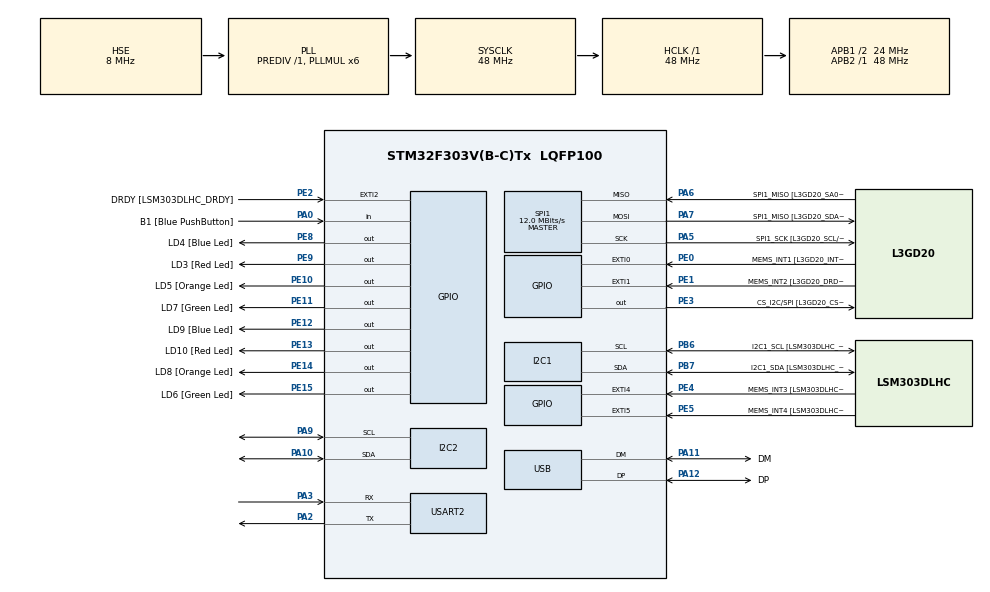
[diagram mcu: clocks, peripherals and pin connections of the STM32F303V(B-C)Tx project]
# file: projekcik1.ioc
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I2C1.Timing=0x00201D2B
I2C1.Timing-I2C=0x2000090E
I2C2.Timing=0x00201D2B
Mcu.Family=STM32F3
Mcu.Name=STM32F303V(B-C)Tx
Mcu.Package=LQFP100
NVIC.PriorityGroup=NVIC_PRIORITYGROUP_0
PA0.GPIO_Label=B1 [Blue PushButton]
PA0.Signal=GPIO_Input
PA10.Mode=I2C
PA10.Signal=I2C2_SDA
PA11.GPIO_Label=DM
PA11.Mode=Device
PA11.Signal=USB_DM
PA12.GPIO_Label=DP
PA12.Mode=Device
PA12.Signal=USB_DP
PA13.GPIO_Label=SWDIO
PA13.Mode=Serial_Wire
PA13.Signal=SYS_JTMS-SWDIO
PA14.GPIO_Label=SWCLK
PA14.Mode=Serial_Wire
PA14.Signal=SYS_JTCK-SWCLK
PA2.Mode=Asynchronous
PA2.Signal=USART2_TX
PA3.Mode=Asynchronous
PA3.Signal=USART2_RX
PA5.GPIO_Label=SPI1_SCK [L3GD20_SCL/SPC]
PA5.Mode=Full_Duplex_Master
PA5.Signal=SPI1_SCK
PA6.GPIO_Label=SPI1_MISO [L3GD20_SA0/SDO]
PA6.Mode=Full_Duplex_Master
PA6.Signal=SPI1_MISO
PA7.GPIO_Label=SPI1_MISO [L3GD20_SDA/SDI/SDO]
PA7.Mode=Full_Duplex_Master
PA7.Signal=SPI1_MOSI
PA9.Mode=I2C
PA9.Signal=I2C2_SCL
PB3.GPIO_Label=SWO
PB3.Signal=SYS_JTDO-TRACESWO
PB6.GPIO_Label=I2C1_SCL [LSM303DLHC_SCL]
PB6.GPIO_Pu=GPIO_PULLUP
PB6.Mode=I2C
PB6.Signal=I2C1_SCL
PB7.GPIO_Label=I2C1_SDA [LSM303DLHC_SDA]
PB7.GPIO_Pu=GPIO_PULLUP
PB7.Mode=I2C
PB7.Signal=I2C1_SDA
PC14-OSC32_IN.GPIO_Label=OSC32_IN
PC14-OSC32_IN.Signal=RCC_OSC32_IN
PC15-OSC32_OUT.GPIO_Label=OSC32_OUT
PC15-OSC32_OUT.Signal=RCC_OSC32_OUT
PE0.GPIO_Label=MEMS_INT1 [L3GD20_INT1]
PE0.GPIO_ModeDefaultEXTI=GPIO_MODE_EVT_RISING
PE0.Signal=GPXTI0
PE1.GPIO_Label=MEMS_INT2 [L3GD20_DRDY/INT2]
PE1.GPIO_ModeDefaultEXTI=GPIO_MODE_EVT_RISING
PE1.Signal=GPXTI1
PE10.GPIO_Label=LD5 [Orange Led]
PE10.Signal=GPIO_Output
PE11.GPIO_Label=LD7 [Green Led]
PE11.Signal=GPIO_Output
PE12.GPIO_Label=LD9 [Blue Led]
PE12.Signal=GPIO_Output
PE13.GPIO_Label=LD10 [Red Led]
PE13.Signal=GPIO_Output
PE14.GPIO_Label=LD8 [Orange Led]
PE14.Signal=GPIO_Output
PE15.GPIO_Label=LD6 [Green Led]
PE15.Signal=GPIO_Output
PE2.GPIO_Label=DRDY [LSM303DLHC_DRDY]
PE2.GPIO_ModeDefaultEXTI=GPIO_MODE_EVT_RISING
PE2.Signal=GPXTI2
PE3.GPIO_Label=CS_I2C/SPI [L3GD20_CS_I2C/SPI]
PE3.Signal=GPIO_Output
PE4.GPIO_Label=MEMS_INT3 [LSM303DLHC_INT1]
PE4.GPIO_ModeDefaultEXTI=GPIO_MODE_EVT_RISING
PE4.Signal=GPXTI4
PE5.GPIO_Label=MEMS_INT4 [LSM303DLHC_INT2]
PE5.GPIO_ModeDefaultEXTI=GPIO_MODE_EVT_RISING
PE5.Signal=GPXTI5
PE8.GPIO_Label=LD4 [Blue Led]
PE8.Signal=GPIO_Output
PE9.GPIO_Label=LD3 [Red Led]
PE9.Signal=GPIO_Output
PF0-OSC_IN.GPIO_Label=OSC_IN
PF0-OSC_IN.Mode=HSE-External-Clock-Source
PF0-OSC_IN.Signal=RCC_OSC_IN
PF1-OSC_OUT.GPIO_Label=OSC_OUT
PF1-OSC_OUT.Signal=RCC_OSC_OUT
ProjectManager.HeapSize=0x200
ProjectManager.StackSize=0x400
ProjectManager.TargetToolchain=STM32CubeIDE
RCC.AHBFreq_Value=48000000
RCC.APB1CLKDivider=RCC_HCLK_DIV2
RCC.APB1Freq_Value=24000000
RCC.APB1TimFreq_Value=48000000
RCC.APB2Freq_Value=48000000
RCC.APB2TimFreq_Value=48000000
RCC.CortexFreq_Value=48000000
RCC.HCLKFreq_Value=48000000
RCC.HSE_VALUE=8000000
RCC.HSI_VALUE=8000000
RCC.LSE_VALUE=32768
RCC.PLLMUL=RCC_PLL_MUL6
RCC.SYSCLKFreq_VALUE=48000000
RCC.SYSCLKSourceVirtual=RCC_SYSCLKSOURCE_PLLCLK
RCC.USBFreq_Value=48000000
SPI1.BaudRatePrescaler=SPI_BAUDRATEPRESCALER_4
SPI1.BaudRatePrescaler-Full_Duplex_Master=SPI_BAUDRATEPRESCALER_2
SPI1.CalculateBaudRate=12.0 MBits/s
SPI1.CalculateBaudRate-Full_Duplex_Master=24.0 MBits/s
SPI1.Direction=SPI_DIRECTION_2LINES
SPI1.Mode=SPI_MODE_MASTER
SPI1.Mode-Full_Duplex_Master=SPI_MODE_MASTER
SPI1.VirtualType=VM_MASTER
USART2.VirtualMode-Asynchronous=VM_ASYNC
board=STM32F3DISCOVERY

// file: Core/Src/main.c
/* USER CODE BEGIN Header */
/**
  ******************************************************************************
  * @file           : main.c
  * @brief          : Main program body
  ******************************************************************************
  * @attention
  *
  * Copyright (c) 2026 STMicroelectronics.
  * All rights reserved.
  *
  * This software is licensed under terms that can be found in the LICENSE file
  * in the root directory of this software component.
  * If no LICENSE file comes with this software, it is provided AS-IS.
  *
  ******************************************************************************
  */
/* USER CODE END Header */
#include "main.h"
#define ACC_ADDR (0x19 << 1)
#define MAG_ADDR (0x1E << 1)
static int state = 0;

I2C_HandleTypeDef hi2c1;
I2C_HandleTypeDef hi2c2;

SPI_HandleTypeDef hspi1;

UART_HandleTypeDef huart2;

PCD_HandleTypeDef hpcd_USB_FS;

void SystemClock_Config(void);
static void MX_GPIO_Init(void);
static void MX_I2C1_Init(void);
static void MX_SPI1_Init(void);
static void MX_USART2_UART_Init(void);
static void MX_USB_PCD_Init(void);
static void MX_I2C2_Init(void);

int mode1(void)
{
	HAL_GPIO_WritePin(GPIOE, GPIO_PIN_10, GPIO_PIN_RESET);
	HAL_GPIO_WritePin(GPIOE, GPIO_PIN_12, GPIO_PIN_SET);
			  uint8_t data[6];

			  	  HAL_I2C_Mem_Read(&hi2c1, ACC_ADDR, 0x28 | 0x80, 1, data, 6, HAL_MAX_DELAY);
			  	  int16_t ax = data[0] | (data[1] << 8);
			  	  int16_t ay = data[2] | (data[3] << 8);
			  	  int16_t az = data[4] | (data[5] << 8);
			  	  int threshold = 12000;

			  	  HAL_GPIO_WritePin(GPIOE, GPIO_PIN_13, GPIO_PIN_RESET);
			  	  HAL_GPIO_WritePin(GPIOE, GPIO_PIN_15, GPIO_PIN_RESET);
			  	  HAL_GPIO_WritePin(GPIOE, GPIO_PIN_11, GPIO_PIN_RESET);
			  	  HAL_GPIO_WritePin(GPIOE, GPIO_PIN_9, GPIO_PIN_RESET);

			  	  // 2. warunki
			  	  if(ax > threshold)
			  	      HAL_GPIO_WritePin(GPIOE, GPIO_PIN_9, GPIO_PIN_SET);

			  	  if(ax < -threshold)
			  	      HAL_GPIO_WritePin(GPIOE, GPIO_PIN_13, GPIO_PIN_SET);

			  	  if(ay > threshold)
			  	      HAL_GPIO_WritePin(GPIOE, GPIO_PIN_15, GPIO_PIN_SET);

			  	  if(ay < -threshold)
			  	      HAL_GPIO_WritePin(GPIOE, GPIO_PIN_11, GPIO_PIN_SET);
}

int mode2(void)
{
	HAL_GPIO_WritePin(GPIOE, GPIO_PIN_12, GPIO_PIN_RESET);
	HAL_GPIO_WritePin(GPIOE, GPIO_PIN_10, GPIO_PIN_SET);
	  uint8_t mag_data[6];
	  HAL_I2C_Mem_Read(&hi2c1, MAG_ADDR, 0x03, 1, mag_data, 6, HAL_MAX_DELAY);
	  int16_t mx = (mag_data[0] << 8) |mag_data[1];
	  int16_t mz = (mag_data[2] << 8) | mag_data[3];
	  HAL_GPIO_WritePin(GPIOE, GPIO_PIN_13, GPIO_PIN_RESET);
	  HAL_GPIO_WritePin(GPIOE, GPIO_PIN_15, GPIO_PIN_RESET);
	  HAL_GPIO_WritePin(GPIOE, GPIO_PIN_11, GPIO_PIN_RESET);
	  HAL_GPIO_WritePin(GPIOE, GPIO_PIN_9, GPIO_PIN_RESET);
	  if(mx > 50)
	  {
	      state = 1;
	  }

	  else if(mx < -50)
	  {
		  state = -1;

}
	  else
	  {
		  state = 0;
	  }
	  if(state == 1 )
	  {
		  HAL_GPIO_WritePin(GPIOE, GPIO_PIN_13, GPIO_PIN_SET);
	  }
	  else if(state == -1)
	  {
		  HAL_GPIO_WritePin(GPIOE, GPIO_PIN_11, GPIO_PIN_SET);
	  }
	  else
	  {
		  HAL_GPIO_WritePin(GPIOE, GPIO_PIN_9, GPIO_PIN_SET);
	  }

}
int main(void)
{
	int counter = 0;
	static int state = 0;

  /* MCU Configuration--------------------------------------------------------*/

  /* Reset of all peripherals, Initializes the Flash interface and the Systick. */
  HAL_Init();

  /* Configure the system clock */
  SystemClock_Config();

  /* Initialize all configured peripherals */
  MX_GPIO_Init();
  MX_I2C1_Init();
  MX_SPI1_Init();
  MX_USART2_UART_Init();
  MX_USB_PCD_Init();
  MX_I2C2_Init();
  /* USER CODE BEGIN 2 */

  uint8_t ctrl = 0x27;
  HAL_I2C_Mem_Write(&hi2c1, ACC_ADDR, 0x20, 1, &ctrl, 1, HAL_MAX_DELAY);

  uint8_t config_a = 0x14; // 30 Hz
  uint8_t config_b = 0x20; // gain
  uint8_t mode = 0x00;     // continuous

  HAL_I2C_Mem_Write(&hi2c1, MAG_ADDR, 0x00, 1, &config_a, 1, HAL_MAX_DELAY);
  HAL_I2C_Mem_Write(&hi2c1, MAG_ADDR, 0x01, 1, &config_b, 1, HAL_MAX_DELAY);
  HAL_I2C_Mem_Write(&hi2c1, MAG_ADDR, 0x02, 1, &mode, 1, HAL_MAX_DELAY);
  /* USER CODE END 2 */

  /* Infinite loop */
  /* USER CODE BEGIN WHILE */
  while (1)
  {
	  if (HAL_GPIO_ReadPin(GPIOA, GPIO_PIN_0) == GPIO_PIN_SET)
	  {
	      counter++;
	      while(HAL_GPIO_ReadPin(GPIOA, GPIO_PIN_0) == GPIO_PIN_SET);
	      HAL_Delay(50);
	  }
	  switch(counter)
	  {
	  case 1: mode1(); break;
	  case 2: mode2(); break;
	  default: counter = 0;
	  }

	  }
    /* USER CODE END WHILE */

  }

void SystemClock_Config(void)
{
  RCC_OscInitTypeDef RCC_OscInitStruct = {0};
  RCC_ClkInitTypeDef RCC_ClkInitStruct = {0};
  RCC_PeriphCLKInitTypeDef PeriphClkInit = {0};

  /** Initializes the RCC Oscillators according to the specified parameters
  * in the RCC_OscInitTypeDef structure.
  */
  RCC_OscInitStruct.OscillatorType = RCC_OSCILLATORTYPE_HSI|RCC_OSCILLATORTYPE_HSE;
  RCC_OscInitStruct.HSEState = RCC_HSE_BYPASS;
  RCC_OscInitStruct.HSEPredivValue = RCC_HSE_PREDIV_DIV1;
  RCC_OscInitStruct.HSIState = RCC_HSI_ON;
  RCC_OscInitStruct.HSICalibrationValue = RCC_HSICALIBRATION_DEFAULT;
  RCC_OscInitStruct.PLL.PLLState = RCC_PLL_ON;
  RCC_OscInitStruct.PLL.PLLSource = RCC_PLLSOURCE_HSE;
  RCC_OscInitStruct.PLL.PLLMUL = RCC_PLL_MUL6;
  if (HAL_RCC_OscConfig(&RCC_OscInitStruct) != HAL_OK)
  {
    Error_Handler();
  }

  /** Initializes the CPU, AHB and APB buses clocks
  */
  RCC_ClkInitStruct.ClockType = RCC_CLOCKTYPE_HCLK|RCC_CLOCKTYPE_SYSCLK
                              |RCC_CLOCKTYPE_PCLK1|RCC_CLOCKTYPE_PCLK2;
  RCC_ClkInitStruct.SYSCLKSource = RCC_SYSCLKSOURCE_PLLCLK;
  RCC_ClkInitStruct.AHBCLKDivider = RCC_SYSCLK_DIV1;
  RCC_ClkInitStruct.APB1CLKDivider = RCC_HCLK_DIV2;
  RCC_ClkInitStruct.APB2CLKDivider = RCC_HCLK_DIV1;

  if (HAL_RCC_ClockConfig(&RCC_ClkInitStruct, FLASH_LATENCY_1) != HAL_OK)
  {
    Error_Handler();
  }
  PeriphClkInit.PeriphClockSelection = RCC_PERIPHCLK_USB|RCC_PERIPHCLK_USART2
                              |RCC_PERIPHCLK_I2C1|RCC_PERIPHCLK_I2C2;
  PeriphClkInit.Usart2ClockSelection = RCC_USART2CLKSOURCE_PCLK1;
  PeriphClkInit.I2c1ClockSelection = RCC_I2C1CLKSOURCE_HSI;
  PeriphClkInit.I2c2ClockSelection = RCC_I2C2CLKSOURCE_HSI;
  PeriphClkInit.USBClockSelection = RCC_USBCLKSOURCE_PLL;
  if (HAL_RCCEx_PeriphCLKConfig(&PeriphClkInit) != HAL_OK)
  {
    Error_Handler();
  }
}

static void MX_I2C1_Init(void)
{

  hi2c1.Instance = I2C1;
  hi2c1.Init.Timing = 0x00201D2B;
  hi2c1.Init.OwnAddress1 = 0;
  hi2c1.Init.AddressingMode = I2C_ADDRESSINGMODE_7BIT;
  hi2c1.Init.DualAddressMode = I2C_DUALADDRESS_DISABLE;
  hi2c1.Init.OwnAddress2 = 0;
  hi2c1.Init.OwnAddress2Masks = I2C_OA2_NOMASK;
  hi2c1.Init.GeneralCallMode = I2C_GENERALCALL_DISABLE;
  hi2c1.Init.NoStretchMode = I2C_NOSTRETCH_DISABLE;
  if (HAL_I2C_Init(&hi2c1) != HAL_OK)
  {
    Error_Handler();
  }

  /** Configure Analogue filter
  */
  if (HAL_I2CEx_ConfigAnalogFilter(&hi2c1, I2C_ANALOGFILTER_ENABLE) != HAL_OK)
  {
    Error_Handler();
  }

  /** Configure Digital filter
  */
  if (HAL_I2CEx_ConfigDigitalFilter(&hi2c1, 0) != HAL_OK)
  {
    Error_Handler();
  }

}

static void MX_I2C2_Init(void)
{

  hi2c2.Instance = I2C2;
  hi2c2.Init.Timing = 0x00201D2B;
  hi2c2.Init.OwnAddress1 = 0;
  hi2c2.Init.AddressingMode = I2C_ADDRESSINGMODE_7BIT;
  hi2c2.Init.DualAddressMode = I2C_DUALADDRESS_DISABLE;
  hi2c2.Init.OwnAddress2 = 0;
  hi2c2.Init.OwnAddress2Masks = I2C_OA2_NOMASK;
  hi2c2.Init.GeneralCallMode = I2C_GENERALCALL_DISABLE;
  hi2c2.Init.NoStretchMode = I2C_NOSTRETCH_DISABLE;
  if (HAL_I2C_Init(&hi2c2) != HAL_OK)
  {
    Error_Handler();
  }

  /** Configure Analogue filter
  */
  if (HAL_I2CEx_ConfigAnalogFilter(&hi2c2, I2C_ANALOGFILTER_ENABLE) != HAL_OK)
  {
    Error_Handler();
  }

  /** Configure Digital filter
  */
  if (HAL_I2CEx_ConfigDigitalFilter(&hi2c2, 0) != HAL_OK)
  {
    Error_Handler();
  }

}

static void MX_SPI1_Init(void)
{

  /* SPI1 parameter configuration*/
  hspi1.Instance = SPI1;
  hspi1.Init.Mode = SPI_MODE_MASTER;
  hspi1.Init.Direction = SPI_DIRECTION_2LINES;
  hspi1.Init.DataSize = SPI_DATASIZE_4BIT;
  hspi1.Init.CLKPolarity = SPI_POLARITY_LOW;
  hspi1.Init.CLKPhase = SPI_PHASE_1EDGE;
  hspi1.Init.NSS = SPI_NSS_SOFT;
  hspi1.Init.BaudRatePrescaler = SPI_BAUDRATEPRESCALER_4;
  hspi1.Init.FirstBit = SPI_FIRSTBIT_MSB;
  hspi1.Init.TIMode = SPI_TIMODE_DISABLE;
  hspi1.Init.CRCCalculation = SPI_CRCCALCULATION_DISABLE;
  hspi1.Init.CRCPolynomial = 7;
  hspi1.Init.CRCLength = SPI_CRC_LENGTH_DATASIZE;
  hspi1.Init.NSSPMode = SPI_NSS_PULSE_ENABLE;
  if (HAL_SPI_Init(&hspi1) != HAL_OK)
  {
    Error_Handler();
  }

}

static void MX_USART2_UART_Init(void)
{

  huart2.Instance = USART2;
  huart2.Init.BaudRate = 38400;
  huart2.Init.WordLength = UART_WORDLENGTH_8B;
  huart2.Init.StopBits = UART_STOPBITS_1;
  huart2.Init.Parity = UART_PARITY_NONE;
  huart2.Init.Mode = UART_MODE_TX_RX;
  huart2.Init.HwFlowCtl = UART_HWCONTROL_NONE;
  huart2.Init.OverSampling = UART_OVERSAMPLING_16;
  huart2.Init.OneBitSampling = UART_ONE_BIT_SAMPLE_DISABLE;
  huart2.AdvancedInit.AdvFeatureInit = UART_ADVFEATURE_NO_INIT;
  if (HAL_UART_Init(&huart2) != HAL_OK)
  {
    Error_Handler();
  }

}

static void MX_USB_PCD_Init(void)
{

  hpcd_USB_FS.Instance = USB;
  hpcd_USB_FS.Init.dev_endpoints = 8;
  hpcd_USB_FS.Init.speed = PCD_SPEED_FULL;
  hpcd_USB_FS.Init.phy_itface = PCD_PHY_EMBEDDED;
  hpcd_USB_FS.Init.low_power_enable = DISABLE;
  hpcd_USB_FS.Init.battery_charging_enable = DISABLE;
  if (HAL_PCD_Init(&hpcd_USB_FS) != HAL_OK)
  {
    Error_Handler();
  }

}

static void MX_GPIO_Init(void)
{
  GPIO_InitTypeDef GPIO_InitStruct = {0};

  /* GPIO Ports Clock Enable */
  __HAL_RCC_GPIOE_CLK_ENABLE();
  __HAL_RCC_GPIOC_CLK_ENABLE();
  __HAL_RCC_GPIOF_CLK_ENABLE();
  __HAL_RCC_GPIOA_CLK_ENABLE();
  __HAL_RCC_GPIOB_CLK_ENABLE();

  /*Configure GPIO pin Output Level */
  HAL_GPIO_WritePin(GPIOE, CS_I2C_SPI_Pin|LD4_Pin|LD3_Pin|LD5_Pin
                          |LD7_Pin|LD9_Pin|LD10_Pin|LD8_Pin
                          |LD6_Pin, GPIO_PIN_RESET);

  /*Configure GPIO pins : DRDY_Pin MEMS_INT3_Pin MEMS_INT4_Pin MEMS_INT1_Pin
                           MEMS_INT2_Pin */
  GPIO_InitStruct.Pin = DRDY_Pin|MEMS_INT3_Pin|MEMS_INT4_Pin|MEMS_INT1_Pin
                          |MEMS_INT2_Pin;
  GPIO_InitStruct.Mode = GPIO_MODE_EVT_RISING;
  GPIO_InitStruct.Pull = GPIO_NOPULL;
  HAL_GPIO_Init(GPIOE, &GPIO_InitStruct);

  /*Configure GPIO pins : CS_I2C_SPI_Pin LD4_Pin LD3_Pin LD5_Pin
                           LD7_Pin LD9_Pin LD10_Pin LD8_Pin
                           LD6_Pin */
  GPIO_InitStruct.Pin = CS_I2C_SPI_Pin|LD4_Pin|LD3_Pin|LD5_Pin
                          |LD7_Pin|LD9_Pin|LD10_Pin|LD8_Pin
                          |LD6_Pin;
  GPIO_InitStruct.Mode = GPIO_MODE_OUTPUT_PP;
  GPIO_InitStruct.Pull = GPIO_NOPULL;
  GPIO_InitStruct.Speed = GPIO_SPEED_FREQ_LOW;
  HAL_GPIO_Init(GPIOE, &GPIO_InitStruct);

  /*Configure GPIO pin : B1_Pin */
  GPIO_InitStruct.Pin = B1_Pin;
  GPIO_InitStruct.Mode = GPIO_MODE_INPUT;
  GPIO_InitStruct.Pull = GPIO_NOPULL;
  HAL_GPIO_Init(B1_GPIO_Port, &GPIO_InitStruct);

}

void Error_Handler(void)
{
  __disable_irq();
  while (1)
  {
  }
}
